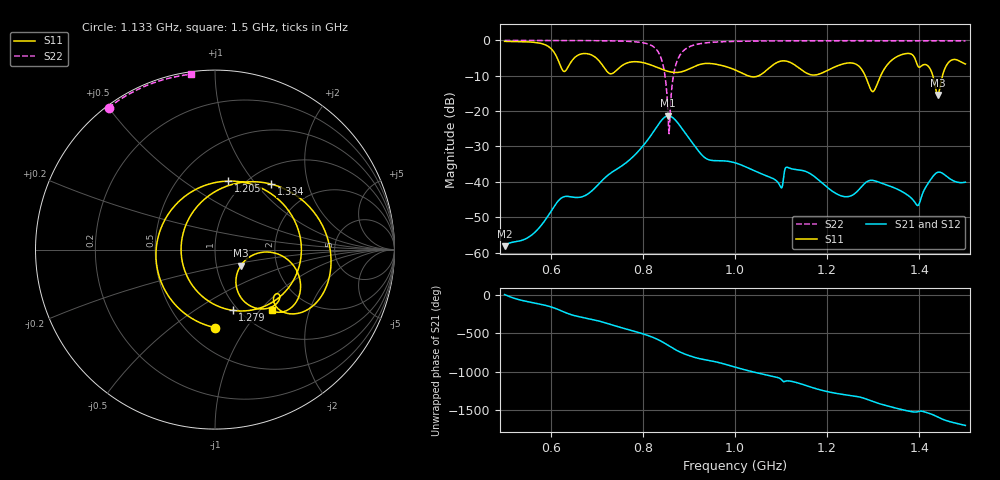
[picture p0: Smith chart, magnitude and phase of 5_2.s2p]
! TOUCHSTONE file generated by CST MICROWAVE STUDIO
! Date and time: Thu Feb 11 19:31:24 2021
! Project name: Scenario_1_Planar_Body_Tissue_Out_of_Line.cst
! Parameters = {L_HA=400; Ltissue=1000; MT=2.54; Rad_Dielectric=30; Rad_Lower=7.3; Rad_Upper=30; Wtissue=1000; a_HA=580; a_WG=246; b_HA=500; b_WG=121; c_HA=0; c_WG=187; d_feed=85; dx1=346; dy1=-276.8; h_feed=15; h_lower=18; h_upper=40; hfat=3; hgap=25; hmuscle=50; hskin=1.5}
! Header version: 2018
! Port assignment regex: !\s*Touchstone port\s*([0-9]+)\s*=\s*(CST MWS port|CST DS port)\s*([0-9]+|Zmin|Zmax)\s*\(\"(.*)\"\)(\s*mode\s*([0-9]+))?.*
! Touchstone port assignment:
! Touchstone port 1 = CST MWS port 1 ("")
! Touchstone port 2 = CST MWS port 2 ("")
# GHz S DB R 50
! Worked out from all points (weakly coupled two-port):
!   1003 points, 500 MHz to 1.5 GHz, reference 50 ohm
!   highest |S21| = -21.32 dB at 855 MHz (marker M1); lowest = -58.2 dB at 500 MHz (marker M2)
!   lowest |S11| = -15.5 dB at 1.44 GHz (marker M3), VSWR 1.41, Z = 65.4 - j12.1 ohm
!   |S11| at or under -10 dB: 1.028 GHz to 1.051 GHz (23.05 MHz wide, 2.22 % of centre); 1.283 GHz to 1.316 GHz (33.53 MHz wide, 2.58 % of centre); 1.429 GHz to 1.45 GHz (20.89 MHz wide, 1.45 % of centre)
!   |S22| runs from -26.4 to 0.0 dB; largest |S21 - S12| = 0.00011
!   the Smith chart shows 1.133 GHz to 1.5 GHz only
!   S11 on the Smith chart (normalised r, x): 1.133 GHz: 0.68, -0.73; 1.205 GHz: 0.85, +0.76; 1.279 GHz: 0.94, -0.73; 1.334 GHz: 1.27, +1.21; 1.5 GHz: 1.35, -1.17
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0.5  -0.26 -121.7  -58.19 2.7  -58.19 2.7  -0.01 151.1
0.667  -3.80 158.7  -44.26 67.8  -44.26 67.8  -0.04 138.4
0.718  -8.06 26.3  -38.81 -4.4  -38.81 -4.4  -0.09 132.6
0.742  -8.56 -94.6  -36.52 -48.4  -36.52 -48.4  -0.14 128.9
0.772  -6.15 174.8  -33.69 -98.5  -33.69 -98.5  -0.28 122.6
0.834  -7.78 38.1  -23.73 134.0  -23.73 134.0  -3.40 81.9
0.855  -8.76 -16.3  -21.32 61.2  -21.32 61.2  -21.80 8.9
0.908  -7.61 -179.3  -29.05 -85.9  -29.05 -85.9  -1.43 163.2
0.939  -6.50 84.5  -33.52 -128.5  -33.52 -128.5  -0.66 151.6
1  -8.33 -63.0  -34.61 140.1  -34.61 140.1  -0.27 140.2
1.042  -10.31 -176.8  -36.88 73.2  -36.88 73.2  -0.18 135.2
1.076  -7.60 74.8  -38.67 27.5  -38.67 27.5  -0.14 131.9
1.103  -5.78 -5.1  -41.11 -38.7  -41.18 -38.9  -0.12 129.4
1.133  -7.24 -89.9  -36.52 -60.5  -36.52 -60.5  -0.11 126.9
1.167  -9.76 171.3  -37.99 -124.7  -37.99 -124.7  -0.09 124.2
1.205  -8.20 78.9  -42.05 175.0  -42.05 175.0  -0.09 121.2
1.249  -6.35 0.6  -44.08 132.5  -44.07 132.5  -0.09 117.9
1.279  -9.05 -73.7  -40.75 96.6  -40.75 96.6  -0.08 115.7
1.334  -6.36 49.4  -41.10 -9.9  -41.10 -9.9  -0.09 111.5
1.388  -4.50 -36.0  -45.37 -83.3  -45.37 -83.3  -0.09 107.3
1.44  -15.45 -32.2  -37.30 -148.5  -37.30 -148.5  -0.11 103.1
1.5  -6.67 -46.8  -40.10 101.4  -40.10 101.4  -0.12 97.9
